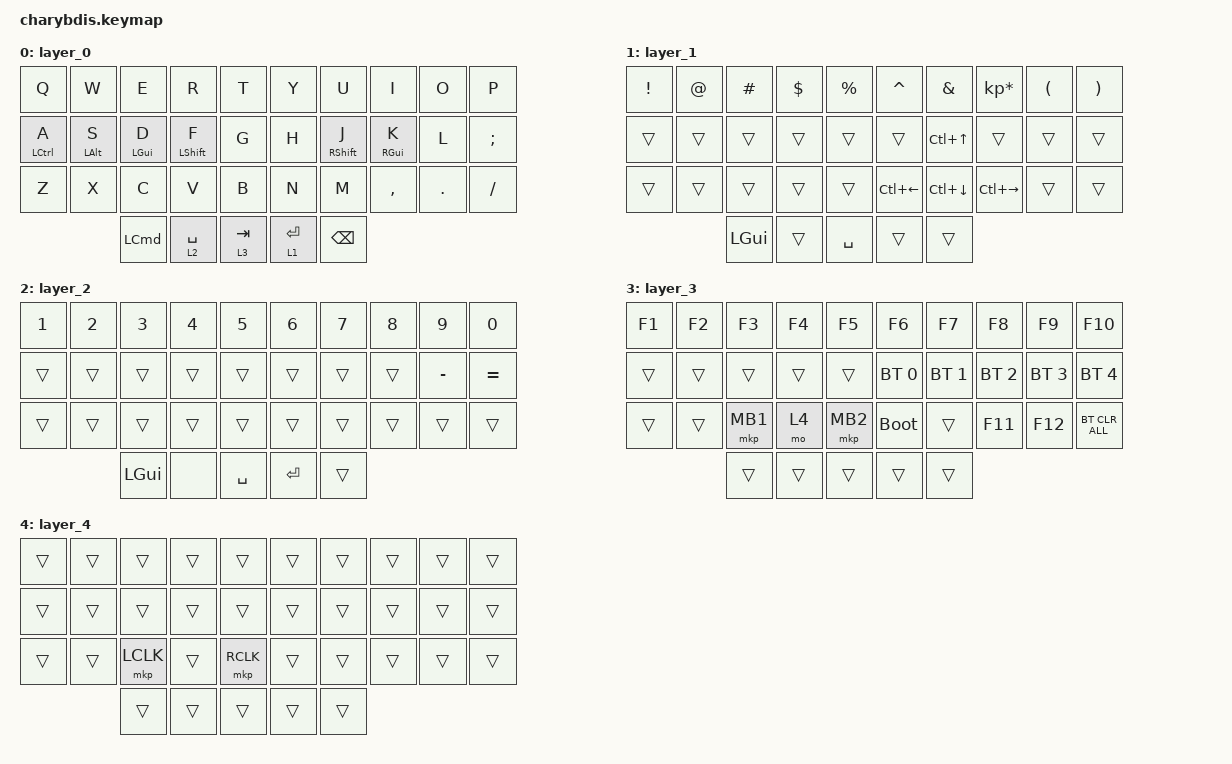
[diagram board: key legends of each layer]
#include <dt-bindings/zmk/mouse.h>
#include <behaviors.dtsi>
#include <dt-bindings/zmk/bt.h>
#include <dt-bindings/zmk/keys.h>
#include <dt-bindings/zmk/pointing.h>

&lt {
    tapping-term-ms = <200>;
            flavor = "tap-preferred";
            quick-tap-ms = <125>;
            global-quick-tap;
};

/ {
    behaviors {
        as: auto_shift {
            compatible = "zmk,behavior-hold-tap";
            #binding-cells = <2>;
            tapping_term_ms = <200>;
            quick_tap_ms = <0>;
            flavor = "tap-preferred";
            bindings = <&kp>, <&kp>;
        };

        lhht: left-hand-hold-tap {
            compatible = "zmk,behavior-hold-tap";
            label = "LEFT_HOLD_TAP";
            bindings = <&kp>, <&kp>;

            #binding-cells = <2>;
            tapping-term-ms = <200>;
            flavor = "tap-preferred";
            quick-tap-ms = <125>;
            global-quick-tap;
            hold-trigger-key-positions = <0 1 2 3 4 10 11 12 13 14 20 21 22 23 24 30 31 32>;
        };

        rhht: rhht {
            compatible = "zmk,behavior-hold-tap";
            label = "RHHT";
            bindings = <&kp>, <&kp>;

            #binding-cells = <2>;
            tapping-term-ms = <200>;
            flavor = "tap-preferred";
            quick-tap-ms = <125>;
            global-quick-tap;
            hold-trigger-key-positions = <5 6 7 8 9 15 16 17 18 19 25 26 27 28 29 33 34 35>;
        };
    };

    combos {
        compatible = "zmk,combos";

        caps {
            bindings = <&kp CAPSLOCK>;
            key-positions = <10 20>;
        };

        esc {
            bindings = <&kp ESCAPE>;
            key-positions = <0 1>;
        };

        bs {
            bindings = <&kp GRAVE>;
            key-positions = <0 10>;
        };

        lbkt {
            bindings = <&kp LEFT_BRACKET>;
            key-positions = <8 9>;
        };

        rbkt {
            bindings = <&kp RIGHT_BRACKET>;
            key-positions = <18 19>;
        };

        app {
            bindings = <&kp SQT>;
            key-positions = <19 29>;
        };

        bss {
            bindings = <&kp BACKSLASH>;
            key-positions = <9 19>;
        };
    };

    keymap {
        compatible = "zmk,keymap";

        layer_0 {
            bindings = <
&kp Q          &kp W             &kp E             &kp R               &kp T        &kp Y        &kp U          &kp I              &kp O    &kp P
&lhht LCTRL A  &lhht LEFT_ALT S  &lhht LEFT_GUI D  &lhht LEFT_SHIFT F  &kp G        &kp H        &rhht RSHFT J  &rhht RIGHT_GUI K  &kp L    &kp SEMICOLON
&kp Z          &kp X             &kp C             &kp V               &kp B        &kp N        &kp M          &kp COMMA          &kp DOT  &kp SLASH
                                 &kp LEFT_COMMAND  &lt 2 SPACE         &lt 3 TAB    &lt 1 ENTER  &kp BACKSPACE 
            >;
        };

        layer_1 {
            bindings = <
&kp EXCL  &kp AT  &kp HASH  &kp DLLR  &kp PRCNT    &kp CARET           &kp AMPS            &kp KP_MULTIPLY      &kp LPAR  &kp RPAR
&trans    &trans  &trans    &trans    &trans       &trans              &kp LC(UP_ARROW)    &trans               &trans    &trans
&trans    &trans  &trans    &trans    &trans       &kp LC(LEFT_ARROW)  &kp LC(DOWN_ARROW)  &kp LC(RIGHT_ARROW)  &trans    &trans
                  &kp LGUI  &trans    &kp SPACE    &trans              &trans             
            >;
        };

        layer_2 {
            bindings = <
&kp N1  &kp N2  &kp N3    &kp N4  &kp N5       &kp N6   &kp N7  &kp N8   &kp N9     &kp N0
&trans  &trans  &trans    &trans  &trans       &trans   &trans  &trans   &kp MINUS  &kp EQUAL
&trans  &trans  &trans    &trans  &trans       &trans   &trans  &trans   &trans     &trans
                &kp LGUI  &none   &kp SPACE    &kp RET  &trans  
            >;
        };

        layer_3 {
            bindings = <
&kp F1  &kp F2  &kp F3    &kp F4  &kp F5      &kp F6        &kp F7        &kp F8        &kp F9        &kp F10
&trans  &trans  &trans    &trans  &trans      &bt BT_SEL 0  &bt BT_SEL 1  &bt BT_SEL 2  &bt BT_SEL 3  &bt BT_SEL 4
&trans  &trans  &mkp MB1  &mo 4   &mkp MB2    &bootloader   &trans        &kp F11       &kp F12       &bt BT_CLR_ALL
                &trans    &trans  &trans      &trans        &trans      
            >;
        };

        layer_4 {
            bindings = <
&trans  &trans  &trans     &trans  &trans       &trans  &trans  &trans  &trans  &trans
&trans  &trans  &trans     &trans  &trans       &trans  &trans  &trans  &trans  &trans
&trans  &trans  &mkp LCLK  &trans  &mkp RCLK    &trans  &trans  &trans  &trans  &trans
                &trans     &trans  &trans       &trans  &trans  
            >;
        };
    };
};
